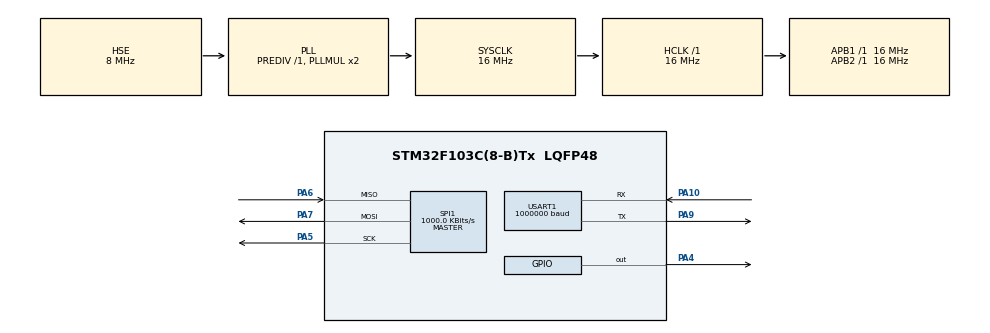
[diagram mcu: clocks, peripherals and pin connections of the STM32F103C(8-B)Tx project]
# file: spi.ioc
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Mcu.Family=STM32F1
Mcu.Name=STM32F103C(8-B)Tx
Mcu.Package=LQFP48
NVIC.PriorityGroup=NVIC_PRIORITYGROUP_4
PA10.Mode=Asynchronous
PA10.Signal=USART1_RX
PA4.Signal=GPIO_Output
PA5.Mode=Full_Duplex_Master
PA5.Signal=SPI1_SCK
PA6.Mode=Full_Duplex_Master
PA6.Signal=SPI1_MISO
PA7.Mode=Full_Duplex_Master
PA7.Signal=SPI1_MOSI
PA9.Mode=Asynchronous
PA9.Signal=USART1_TX
PD0-OSC_IN.Mode=HSE-External-Oscillator
PD0-OSC_IN.Signal=RCC_OSC_IN
PD1-OSC_OUT.Mode=HSE-External-Oscillator
PD1-OSC_OUT.Signal=RCC_OSC_OUT
ProjectManager.HeapSize=0x200
ProjectManager.StackSize=0x400
ProjectManager.TargetToolchain=STM32CubeIDE
RCC.AHBFreq_Value=16000000
RCC.APB1Freq_Value=16000000
RCC.APB1TimFreq_Value=16000000
RCC.APB2Freq_Value=16000000
RCC.APB2TimFreq_Value=16000000
RCC.HCLKFreq_Value=16000000
RCC.PLLSourceVirtual=RCC_PLLSOURCE_HSE
RCC.SYSCLKFreq_VALUE=16000000
RCC.SYSCLKSource=RCC_SYSCLKSOURCE_PLLCLK
RCC.USBFreq_Value=16000000
SPI1.BaudRatePrescaler=SPI_BAUDRATEPRESCALER_16
SPI1.CLKPhase=SPI_PHASE_2EDGE
SPI1.CLKPolarity=SPI_POLARITY_HIGH
SPI1.CalculateBaudRate=1000.0 KBits/s
SPI1.Direction=SPI_DIRECTION_2LINES
SPI1.Mode=SPI_MODE_MASTER
SPI1.VirtualType=VM_MASTER
USART1.BaudRate=1000000
USART1.VirtualMode=VM_ASYNC
VP_SYS_VS_ND.Mode=No_Debug
board=custom

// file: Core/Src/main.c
/* USER CODE BEGIN Header */
/**
 ******************************************************************************
 * @file           : main.c
 * @brief          : Main program body
 ******************************************************************************
 * @attention
 *
 * Copyright (c) 2022 STMicroelectronics.
 * All rights reserved.
 *
 * This software is licensed under terms that can be found in the LICENSE file
 * in the root directory of this software component.
 * If no LICENSE file comes with this software, it is provided AS-IS.
 *
 ******************************************************************************
 */
/* USER CODE END Header */
#include "main.h"

/* USER CODE BEGIN Includes */
#include <stdio.h>
//#include <string>
/* USER CODE END Includes */

SPI_HandleTypeDef hspi1;

UART_HandleTypeDef huart1;

/* USER CODE BEGIN PV */
uint8_t data_rec[6];
int16_t x, y, z;
float xg, yg, zg;

/* USER CODE END PV */

void SystemClock_Config(void);
static void MX_GPIO_Init(void);
static void MX_SPI1_Init(void);
static void MX_USART1_UART_Init(void);
/* USER CODE BEGIN PFP */

#ifdef __GNUC__s
#define PUTCHAR_PROTOTYPE int __io_putchar(int ch)
#else
#define PUTCHAR_PROTOTYPE int fputc(int ch, FILE *f)
#endif

PUTCHAR_PROTOTYPE {
	HAL_UART_Transmit(&huart1, (uint8_t*) &ch, 1, HAL_MAX_DELAY);
	return ch;
}

/* USER CODE END PFP */

/* USER CODE BEGIN 0 */
void adxl_write(uint8_t address, uint8_t value) {
	uint8_t data[2];
	data[0] = address | 0x40;  // multibyte write
	data[1] = value;
	HAL_GPIO_WritePin(GPIOA, GPIO_PIN_4, GPIO_PIN_RESET); // pull the cs pin low
	HAL_SPI_Transmit(&hspi1, data, 2, 100);  // write data to register
	HAL_GPIO_WritePin(GPIOA, GPIO_PIN_4, GPIO_PIN_SET);  // pull the cs pin high
}
void adxl_read(uint8_t address) {
	address |= 0x80;  // read operation
	address |= 0x40;  // multibyte read
	uint8_t rec;
	HAL_GPIO_WritePin(GPIOA, GPIO_PIN_4, GPIO_PIN_RESET);  // pull the pin low
	HAL_SPI_Transmit(&hspi1, &address, 1, 100);  // send address
	HAL_SPI_Receive(&hspi1, data_rec, 6, 100);  // receive 6 bytes data
	HAL_GPIO_WritePin(GPIOA, GPIO_PIN_4, GPIO_PIN_SET);  // pull the pin high
}
void adxl_init(void) {
	adxl_write(0x31, 0x01);  // data_format range= +- 4g
	adxl_write(0x2d, 0x00);  // reset all bits
	adxl_write(0x2d, 0x08);  // power_cntl measure and wake up 8hz
}

void SystemClock_Config(void);
static void MX_GPIO_Init(void);
static void MX_USART1_UART_Init(void);

/* USER CODE END 0 */

int main(void)
{
  /* USER CODE BEGIN 1 */

	uint8_t MSG[34] = { '\0' };
	uint8_t MSG2[34] = { '\0' };
	//std::string MSG = { '\0' };

  /* USER CODE END 1 */

  /* MCU Configuration--------------------------------------------------------*/

  /* Reset of all peripherals, Initializes the Flash interface and the Systick. */
  HAL_Init();

  /* Configure the system clock */
  SystemClock_Config();

  /* Initialize all configured peripherals */
  MX_GPIO_Init();
  MX_SPI1_Init();
  MX_USART1_UART_Init();
  /* USER CODE BEGIN 2 */

	HAL_Delay(100);

	adxl_init();

  /* USER CODE END 2 */

  /* Infinite loop */
	while (1) {

    /* USER CODE BEGIN 3 */

		// READ DATA
		adxl_read(0x32);
		x = ((data_rec[1] << 8) | data_rec[0]);
		y = ((data_rec[3] << 8) | data_rec[2]);
		z = ((data_rec[5] << 8) | data_rec[4]);

		// Convert into 'g'

		xg = x * .0078;
		yg = y * .0078;
		zg = z * .0078;

		// display the result on LCD
//printf("hi\n");
//sprintf()
		sprintf(MSG, "%9f, %9f, %9f \r\n", xg, yg, zg);
	//	strncpy ( MSG2, MSG1, sizeof(MSG2) );
		HAL_UART_Transmit(&huart1, MSG, sizeof(MSG), 100);
//		HAL_Delay(5);

	}
  /* USER CODE END 3 */
}

void SystemClock_Config(void)
{
  RCC_OscInitTypeDef RCC_OscInitStruct = {0};
  RCC_ClkInitTypeDef RCC_ClkInitStruct = {0};

  /** Initializes the RCC Oscillators according to the specified parameters
  * in the RCC_OscInitTypeDef structure.
  */
  RCC_OscInitStruct.OscillatorType = RCC_OSCILLATORTYPE_HSE;
  RCC_OscInitStruct.HSEState = RCC_HSE_ON;
  RCC_OscInitStruct.HSEPredivValue = RCC_HSE_PREDIV_DIV1;
  RCC_OscInitStruct.HSIState = RCC_HSI_ON;
  RCC_OscInitStruct.PLL.PLLState = RCC_PLL_ON;
  RCC_OscInitStruct.PLL.PLLSource = RCC_PLLSOURCE_HSE;
  RCC_OscInitStruct.PLL.PLLMUL = RCC_PLL_MUL2;
  if (HAL_RCC_OscConfig(&RCC_OscInitStruct) != HAL_OK)
  {
    Error_Handler();
  }

  /** Initializes the CPU, AHB and APB buses clocks
  */
  RCC_ClkInitStruct.ClockType = RCC_CLOCKTYPE_HCLK|RCC_CLOCKTYPE_SYSCLK
                              |RCC_CLOCKTYPE_PCLK1|RCC_CLOCKTYPE_PCLK2;
  RCC_ClkInitStruct.SYSCLKSource = RCC_SYSCLKSOURCE_PLLCLK;
  RCC_ClkInitStruct.AHBCLKDivider = RCC_SYSCLK_DIV1;
  RCC_ClkInitStruct.APB1CLKDivider = RCC_HCLK_DIV1;
  RCC_ClkInitStruct.APB2CLKDivider = RCC_HCLK_DIV1;

  if (HAL_RCC_ClockConfig(&RCC_ClkInitStruct, FLASH_LATENCY_0) != HAL_OK)
  {
    Error_Handler();
  }
}

static void MX_SPI1_Init(void)
{

  /* SPI1 parameter configuration*/
  hspi1.Instance = SPI1;
  hspi1.Init.Mode = SPI_MODE_MASTER;
  hspi1.Init.Direction = SPI_DIRECTION_2LINES;
  hspi1.Init.DataSize = SPI_DATASIZE_8BIT;
  hspi1.Init.CLKPolarity = SPI_POLARITY_HIGH;
  hspi1.Init.CLKPhase = SPI_PHASE_2EDGE;
  hspi1.Init.NSS = SPI_NSS_SOFT;
  hspi1.Init.BaudRatePrescaler = SPI_BAUDRATEPRESCALER_16;
  hspi1.Init.FirstBit = SPI_FIRSTBIT_MSB;
  hspi1.Init.TIMode = SPI_TIMODE_DISABLE;
  hspi1.Init.CRCCalculation = SPI_CRCCALCULATION_DISABLE;
  hspi1.Init.CRCPolynomial = 10;
  if (HAL_SPI_Init(&hspi1) != HAL_OK)
  {
    Error_Handler();
  }

}

static void MX_USART1_UART_Init(void)
{

  huart1.Instance = USART1;
  huart1.Init.BaudRate = 1000000;
  huart1.Init.WordLength = UART_WORDLENGTH_8B;
  huart1.Init.StopBits = UART_STOPBITS_1;
  huart1.Init.Parity = UART_PARITY_NONE;
  huart1.Init.Mode = UART_MODE_TX_RX;
  huart1.Init.HwFlowCtl = UART_HWCONTROL_NONE;
  huart1.Init.OverSampling = UART_OVERSAMPLING_16;
  if (HAL_UART_Init(&huart1) != HAL_OK)
  {
    Error_Handler();
  }

}

static void MX_GPIO_Init(void)
{
  GPIO_InitTypeDef GPIO_InitStruct = {0};

  /* GPIO Ports Clock Enable */
  __HAL_RCC_GPIOD_CLK_ENABLE();
  __HAL_RCC_GPIOA_CLK_ENABLE();

  /*Configure GPIO pin Output Level */
  HAL_GPIO_WritePin(GPIOA, GPIO_PIN_4, GPIO_PIN_RESET);

  /*Configure GPIO pin : PA4 */
  GPIO_InitStruct.Pin = GPIO_PIN_4;
  GPIO_InitStruct.Mode = GPIO_MODE_OUTPUT_PP;
  GPIO_InitStruct.Pull = GPIO_NOPULL;
  GPIO_InitStruct.Speed = GPIO_SPEED_FREQ_LOW;
  HAL_GPIO_Init(GPIOA, &GPIO_InitStruct);

}

void Error_Handler(void)
{
	__disable_irq();
	while (1) {
	}
}
